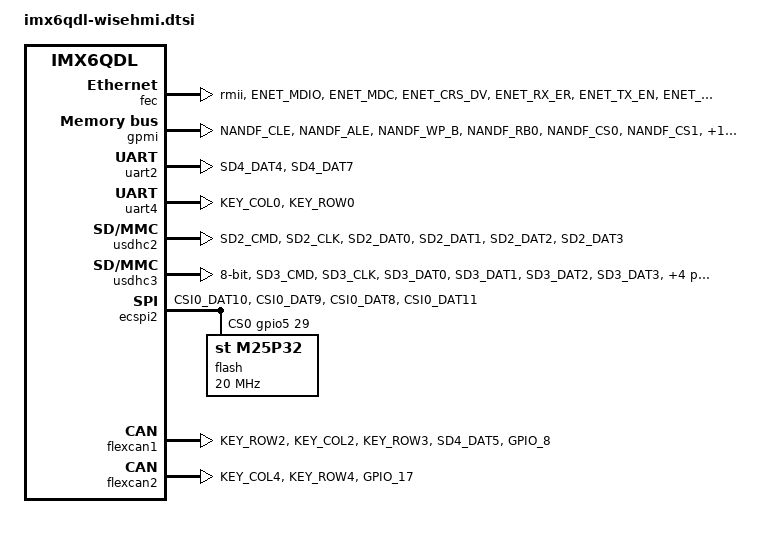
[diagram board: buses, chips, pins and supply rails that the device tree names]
#include <dt-bindings/input/input.h>

/ {
	lcd: lcd@0 {
		  compatible = "fsl,lcd";
		  ipu_id = <0>;
		  disp_id = <0>;
		  default_ifmt = "BGR24";
		  pinctrl-names = "default";
		  pinctrl-0 = <&pinctrl_ipu1>;
		  status = "disabled";
	};
};

&lcd {
	display-timings {
		TX26D25VM2BAA {
			clock-frequency = <20000000>;
			hactive = <800>;
			vactive = <256>;
			hback-porch = <80>;
			hfront-porch = <160>;
			vback-porch = <20>;
			vfront-porch = <30>;
			hsync-len = <16>;
			vsync-len = <10>;
		};
		HSD070IDW1-G {
			clock-frequency = <30000000>;
			hactive = <800>;
			vactive = <480>;
			hback-porch = <40>;
			hfront-porch = <40>;
			vback-porch = <13>;
			vfront-porch = <29>;
			hsync-len = <48>;
			vsync-len = <3>;
		};
		LQ101K5DZ01 {
			clock-frequency = <44240000>;
			hactive = <1280>;
			vactive = <424>;
			hback-porch = <42>;
			hfront-porch = <194>;
			vback-porch = <15>;
			vfront-porch = <35>;
			hsync-len = <20>;
			vsync-len = <8>;
			pixelclk-active = <0>;
		};
	};
};

&iomuxc {
	imx6qdl-wisehmi {
		pinctrl_ipu1: ipu1grp {
			fsl,pins = <
				MX6QDL_PAD_DI0_DISP_CLK__IPU1_DI0_DISP_CLK 0x10
				MX6QDL_PAD_DI0_PIN15__IPU1_DI0_PIN15       0x10
				MX6QDL_PAD_DI0_PIN2__IPU1_DI0_PIN02        0x10
				MX6QDL_PAD_DI0_PIN3__IPU1_DI0_PIN03        0x10
				MX6QDL_PAD_DI0_PIN4__IPU1_DI0_PIN04        0x80000000
				MX6QDL_PAD_DISP0_DAT0__IPU1_DISP0_DATA00   0x10
				MX6QDL_PAD_DISP0_DAT1__IPU1_DISP0_DATA01   0x10
				MX6QDL_PAD_DISP0_DAT2__IPU1_DISP0_DATA02   0x10
				MX6QDL_PAD_DISP0_DAT3__IPU1_DISP0_DATA03   0x10
				MX6QDL_PAD_DISP0_DAT4__IPU1_DISP0_DATA04   0x10
				MX6QDL_PAD_DISP0_DAT5__IPU1_DISP0_DATA05   0x10
				MX6QDL_PAD_DISP0_DAT6__IPU1_DISP0_DATA06   0x10
				MX6QDL_PAD_DISP0_DAT7__IPU1_DISP0_DATA07   0x10
				MX6QDL_PAD_DISP0_DAT8__IPU1_DISP0_DATA08   0x10
				MX6QDL_PAD_DISP0_DAT9__IPU1_DISP0_DATA09   0x10
				MX6QDL_PAD_DISP0_DAT10__IPU1_DISP0_DATA10  0x10
				MX6QDL_PAD_DISP0_DAT11__IPU1_DISP0_DATA11  0x10
				MX6QDL_PAD_DISP0_DAT12__IPU1_DISP0_DATA12  0x10
				MX6QDL_PAD_DISP0_DAT13__IPU1_DISP0_DATA13  0x10
				MX6QDL_PAD_DISP0_DAT14__IPU1_DISP0_DATA14  0x10
				MX6QDL_PAD_DISP0_DAT15__IPU1_DISP0_DATA15  0x10
				MX6QDL_PAD_DISP0_DAT16__IPU1_DISP0_DATA16  0x10
				MX6QDL_PAD_DISP0_DAT17__IPU1_DISP0_DATA17  0x10
				MX6QDL_PAD_DISP0_DAT18__IPU1_DISP0_DATA18  0x10
				MX6QDL_PAD_DISP0_DAT19__IPU1_DISP0_DATA19  0x10
				MX6QDL_PAD_DISP0_DAT20__IPU1_DISP0_DATA20  0x10
				MX6QDL_PAD_DISP0_DAT21__IPU1_DISP0_DATA21  0x10
				MX6QDL_PAD_DISP0_DAT22__IPU1_DISP0_DATA22  0x10
				MX6QDL_PAD_DISP0_DAT23__IPU1_DISP0_DATA23  0x10
			>;
		};

		pinctrl_enet: enetgrp {
			fsl,pins = <
			    /* RMII */
				MX6QDL_PAD_ENET_MDIO__ENET_MDIO       0x1b0b0
				MX6QDL_PAD_ENET_MDC__ENET_MDC         0x1b0b0
				MX6QDL_PAD_ENET_CRS_DV__ENET_RX_EN    0x1b0b0
				MX6QDL_PAD_ENET_RX_ER__ENET_RX_ER     0x1b0b0
				MX6QDL_PAD_ENET_TX_EN__ENET_TX_EN     0x1b0b0
				MX6QDL_PAD_ENET_RXD0__ENET_RX_DATA0   0x1b0b0
				MX6QDL_PAD_ENET_RXD1__ENET_RX_DATA1   0x1b0b0
				MX6QDL_PAD_ENET_TXD0__ENET_TX_DATA0   0x1b0b0
				MX6QDL_PAD_ENET_TXD1__ENET_TX_DATA1   0x1b0b0
				/* reset */
				MX6QDL_PAD_GPIO_4__GPIO1_IO04         0x80000000
				/* interrupt */
				MX6QDL_PAD_ENET_REF_CLK__GPIO1_IO23   0x80000000
				/* reference clock */
				MX6QDL_PAD_GPIO_16__ENET_REF_CLK      0x4001b0a8
			>;
		};

		pinctrl_gpmi_nand: gpminandgrp {
			fsl,pins = <
				MX6QDL_PAD_NANDF_CLE__NAND_CLE     0xb0b1
				MX6QDL_PAD_NANDF_ALE__NAND_ALE     0xb0b1
				MX6QDL_PAD_NANDF_WP_B__NAND_WP_B   0xb0b1
				MX6QDL_PAD_NANDF_RB0__NAND_READY_B 0xb000
				MX6QDL_PAD_NANDF_CS0__NAND_CE0_B   0xb0b1
				MX6QDL_PAD_NANDF_CS1__NAND_CE1_B   0xb0b1
				MX6QDL_PAD_NANDF_CS2__NAND_CE2_B   0xb0b1
				MX6QDL_PAD_NANDF_CS3__NAND_CE3_B   0xb0b1
				MX6QDL_PAD_SD4_CMD__NAND_RE_B      0xb0b1
				MX6QDL_PAD_SD4_CLK__NAND_WE_B      0xb0b1
				MX6QDL_PAD_NANDF_D0__NAND_DATA00   0xb0b1
				MX6QDL_PAD_NANDF_D1__NAND_DATA01   0xb0b1
				MX6QDL_PAD_NANDF_D2__NAND_DATA02   0xb0b1
				MX6QDL_PAD_NANDF_D3__NAND_DATA03   0xb0b1
				MX6QDL_PAD_NANDF_D4__NAND_DATA04   0xb0b1
				MX6QDL_PAD_NANDF_D5__NAND_DATA05   0xb0b1
				MX6QDL_PAD_NANDF_D6__NAND_DATA06   0xb0b1
				MX6QDL_PAD_NANDF_D7__NAND_DATA07   0xb0b1
				MX6QDL_PAD_SD4_DAT0__NAND_DQS      0x00b1
			>;
		};

		pinctrl_uart2: uart2grp {
			fsl,pins = <
				MX6QDL_PAD_SD4_DAT4__UART2_RX_DATA   0x1b0b1
				MX6QDL_PAD_SD4_DAT7__UART2_TX_DATA   0x1b0b1
			>;
		};

		pinctrl_uart4: uart4grp {
			fsl,pins = <
				MX6QDL_PAD_KEY_COL0__UART4_TX_DATA 0x1b0b1
				MX6QDL_PAD_KEY_ROW0__UART4_RX_DATA 0x1b0b1
			>;
		};

		pinctrl_usdhc2: usdhc2grp {
			fsl,pins = <
				MX6QDL_PAD_SD2_CMD__SD2_CMD    0x17059
				MX6QDL_PAD_SD2_CLK__SD2_CLK    0x10059
				MX6QDL_PAD_SD2_DAT0__SD2_DATA0 0x17059
				MX6QDL_PAD_SD2_DAT1__SD2_DATA1 0x17059
				MX6QDL_PAD_SD2_DAT2__SD2_DATA2 0x17059
				MX6QDL_PAD_SD2_DAT3__SD2_DATA3 0x17059
			>;
		};

		pinctrl_usdhc3: usdhc3grp {
			fsl,pins = <
				MX6QDL_PAD_SD3_CMD__SD3_CMD 0x17079
				MX6QDL_PAD_SD3_CLK__SD3_CLK 0x10079
				MX6QDL_PAD_SD3_DAT0__SD3_DATA0 0x17079
				MX6QDL_PAD_SD3_DAT1__SD3_DATA1 0x17079
				MX6QDL_PAD_SD3_DAT2__SD3_DATA2 0x17079
				MX6QDL_PAD_SD3_DAT3__SD3_DATA3 0x17079
				MX6QDL_PAD_SD3_DAT4__SD3_DATA4 0x17079
				MX6QDL_PAD_SD3_DAT5__SD3_DATA5 0x17079
				MX6QDL_PAD_SD3_DAT6__SD3_DATA6 0x17079
				MX6QDL_PAD_SD3_DAT7__SD3_DATA7 0x17079
			>;
		};

		pinctrl_ecspi2: ecspi2grp {
			fsl,pins = <
				MX6QDL_PAD_CSI0_DAT10__ECSPI2_MISO 0x100b1
				MX6QDL_PAD_CSI0_DAT9__ECSPI2_MOSI  0x100b1
				MX6QDL_PAD_CSI0_DAT8__ECSPI2_SCLK  0x100b1
				// CS
				MX6QDL_PAD_CSI0_DAT11__GPIO5_IO29  0x80000000
			>;
		};

		pinctrl_flexcan1: flexcan1grp {
			fsl,pins = <
				MX6QDL_PAD_KEY_ROW2__FLEXCAN1_RX 0x80000000
				MX6QDL_PAD_KEY_COL2__FLEXCAN1_TX 0x80000000
				MX6QDL_PAD_KEY_ROW3__GPIO4_IO13  0x80000000
				MX6QDL_PAD_SD4_DAT5__GPIO2_IO13  0x80000000
				MX6QDL_PAD_GPIO_8__GPIO1_IO08    0x80000000
			>;
		};

		pinctrl_flexcan2: flexcan2grp {
			fsl,pins = <
				MX6QDL_PAD_KEY_COL4__FLEXCAN2_TX 0x80000000
				MX6QDL_PAD_KEY_ROW4__FLEXCAN2_RX 0x80000000
				MX6QDL_PAD_GPIO_17__GPIO7_IO12   0x80000000
			>;
		};
	};
};

&fec {
	pinctrl-names = "default";
	pinctrl-0 = <&pinctrl_enet>;
	phy-mode = "rmii";
	phy-reset-gpios = <&gpio1 4 0>;
};

&gpmi {
	pinctrl-names = "default";
	pinctrl-0 = <&pinctrl_gpmi_nand>;	
	nand-on-flash-bbt;

	partition@0 {
		label = "spl";
		reg = <0x0 0x20000>;
	};
	partition@20000 {
		label = "uboot";
		reg = <0x20000 0xC0000>;
	};
	partition@E0000 {
		label = "env";
		reg = <0xE0000 0x60000>;
	};
	partition@140000 {
		label = "dtb";
		reg = <0x140000 0x60000>;
	};
	partition@1A0000 {
		label = "kernel";
		reg = <0x1A0000 0x780000>;
	};
	partition@920000 {
		label = "rootfs";
		reg = <0x920000 0x0>;
	};
};

&uart2 {
	pinctrl-names = "default";
	pinctrl-0 = <&pinctrl_uart2>;
};

&uart4 {
	pinctrl-names = "default";
	pinctrl-0 = <&pinctrl_uart4>;
};

&usdhc2 {
	pinctrl-names = "default";
	pinctrl-0 = <&pinctrl_usdhc2>;
};

&usdhc3 {
	pinctrl-names = "default";
	pinctrl-0 = <&pinctrl_usdhc3>;
	bus-width = <8>;
};

&ecspi2 {
	fsl,spi-num-chipselects = <1>;
	cs-gpios = <&gpio5 29 0>;
	pinctrl-names = "default";
	pinctrl-0 = <&pinctrl_ecspi2>;

	flash: m25p32@0 {
		#address-cells = <1>;
		#size-cells = <1>;
		compatible = "st,m25p32";
		spi-max-frequency = <20000000>;
		reg = <0>;
	};
};

&flexcan1 {
	pinctrl-names = "default";
	pinctrl-0 = <&pinctrl_flexcan1>;
	trx-en-gpio = <&gpio4 13 GPIO_ACTIVE_HIGH>;
	trx-stby-gpio = <&gpio2 13 GPIO_ACTIVE_LOW>;
	trx-nerr-gpio = <&gpio1 8 GPIO_ACTIVE_LOW>;
};

&flexcan2 {
	pinctrl-names = "default";
	pinctrl-0 = <&pinctrl_flexcan2>;
	trx-stby-gpio = <&gpio7 12 GPIO_ACTIVE_HIGH>;
};
